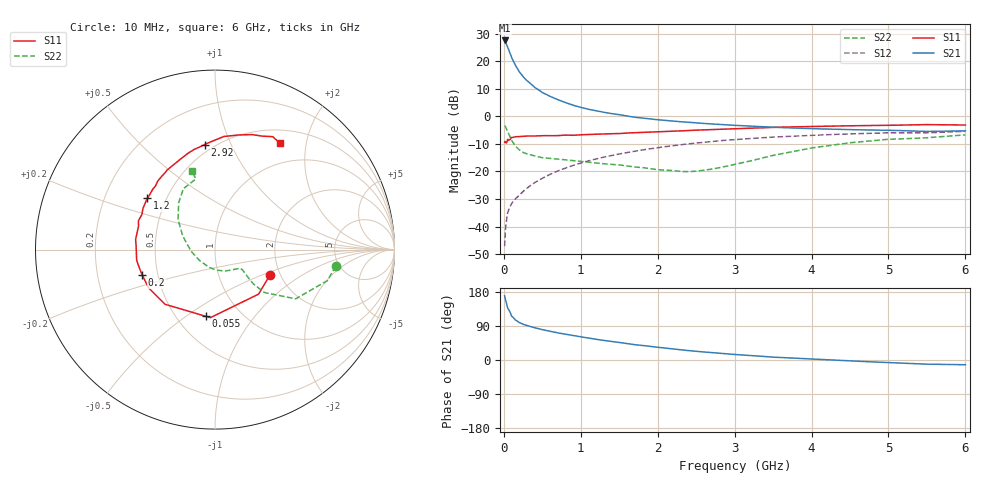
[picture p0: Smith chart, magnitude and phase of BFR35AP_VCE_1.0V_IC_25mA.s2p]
! Infineon Technologies  Discrete & RF Semiconductors
! BFR35AP
! VCE =  1.0 V,  IC =  25 mA
! Common Emitter S-Parameters:  Nov 2015
# GHz  S  MA  R  50
!  f  S11  S21  S12  S22
! GHz  MAG  ANG  MAG  ANG  MAG  ANG  MAG  ANG
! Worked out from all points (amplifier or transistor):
!   210 points, 10 MHz to 6 GHz, reference 50 ohm
!   highest |S21| = 27.5 dB at 10 MHz (marker M1)
!   |S21| within 3 dB of that: start of sweep to 58.27 MHz
!   unconditionally stable (mu >= 1): start of sweep to 46.49 MHz; 57.55 MHz to end of sweep
!   at 185 MHz: K = 1.55, MAG = 18.6 dB, |S12| = -29.0 dB
!   at 1.52 GHz: K = 1.75, MAG = 2.0 dB, |S12| = -13.6 dB
!   at 6 GHz: K = 1.17, MAG = -2.4 dB, |S12| = -5.5 dB
!   S11 on the Smith chart (normalised r, x): 10 MHz: 1.78, -0.56; 55 MHz: 0.69, -0.60; 200 MHz: 0.41, -0.14; 1.2 GHz: 0.39, +0.29; 2.92 GHz: 0.45, +0.80; 6 GHz: 0.69, +1.56
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0.01  0.3376 -24.4  23.75 169.4  0.0044 74.5  0.6795 -7.8
0.02  0.3472 -45.6  22.85 159.5  0.0085 73.7  0.6499 -15.4
0.05  0.3802 -93.9  17.97 136.7  0.0179 62.1  0.5267 -31.4
0.055  0.3753 -97.8  17.27 135.3  0.0187 61.2  0.5099 -32.1
0.1  0.4128 -132.5  11.65 116.1  0.026 55.7  0.3639 -41.0
0.15  0.4265 -149.8  8.403 105.4  0.0317 56.2  0.2883 -41.8
0.2  0.4298 -160.6  6.432 98.8  0.0369 59.7  0.2456 -40.3
0.24  0.4334 -166.1  5.456 95.2  0.0419 61.0  0.225 -39.1
0.3  0.4405 -172.4  4.436 90.8  0.0495 63.6  0.2075 -37.7
0.4  0.4388 178.6  3.356 85.2  0.0623 65.9  0.1902 -36.4
0.5  0.4459 172.8  2.701 80.1  0.075 67.1  0.1774 -36.3
0.7  0.4456 163.0  2.005 71.6  0.1016 67.2  0.1673 -39.4
1.02  0.4632 149.4  1.425 60.5  0.1444 64.8  0.1509 -47.7
1.2  0.4729 142.8  1.256 54.6  0.1682 63.0  0.1418 -54.1
1.7  0.5041 126.3  0.96 40.5  0.2322 56.3  0.1202 -75.2
2.02  0.5233 117.5  0.86 33.2  0.2719 51.5  0.1068 -96.9
2.44  0.5555 106.1  0.771 24.1  0.3204 44.9  0.0996 -131.9
2.92  0.588 95.6  0.696 16.0  0.3706 37.2  0.1264 -171.7
3.1  0.6006 92.3  0.674 13.3  0.3859 34.2  0.1431 176.6
4.1  0.6564 76.9  0.591 1.5  0.4578 19.1  0.2777 137.6
5.1  0.6888 66.5  0.553 -7.7  0.5 5.3  0.3863 114.8
6  0.694 58.5  0.544 -12.5  0.5331 -4.0  0.4596 106.5
